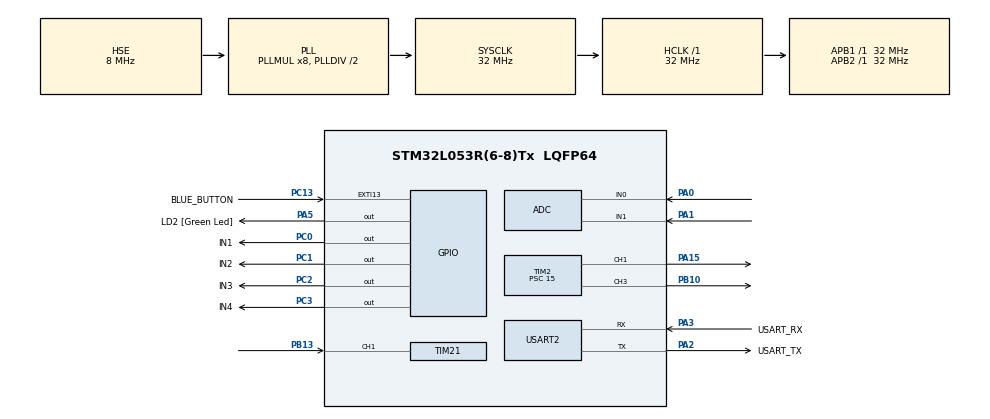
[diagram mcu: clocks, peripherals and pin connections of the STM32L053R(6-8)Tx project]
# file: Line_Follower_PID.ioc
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ADC.ContinuousConvMode=ENABLE
ADC.DMAContinuousRequests=ENABLE
ADC.SamplingTime=ADC_SAMPLETIME_160CYCLES_5
Dma.ADC.0.Direction=DMA_PERIPH_TO_MEMORY
Dma.ADC.0.Instance=DMA1_Channel1
Dma.ADC.0.MemDataAlignment=DMA_MDATAALIGN_HALFWORD
Dma.ADC.0.MemInc=DMA_MINC_ENABLE
Dma.ADC.0.Mode=DMA_CIRCULAR
Dma.ADC.0.PeriphDataAlignment=DMA_PDATAALIGN_HALFWORD
Dma.ADC.0.PeriphInc=DMA_PINC_DISABLE
Dma.ADC.0.Priority=DMA_PRIORITY_LOW
Dma.Request0=ADC
Mcu.Family=STM32L0
Mcu.Name=STM32L053R(6-8)Tx
Mcu.Package=LQFP64
NVIC.EXTI4_15_IRQn=true\:1\:0\:true\:false\:true\:true\:true\:true
NVIC.TIM21_IRQn=true\:2\:0\:true\:false\:true\:true\:true\:true
PA0.Mode=IN0
PA0.Signal=ADC_IN0
PA1.Mode=IN1
PA1.Signal=ADC_IN1
PA13.GPIO_Label=TMS
PA13.Mode=Serial_Wire
PA13.Signal=SYS_SWDIO
PA14.GPIO_Label=TCK
PA14.Mode=Serial_Wire
PA14.Signal=SYS_SWCLK
PA15.Signal=S_TIM2_CH1
PA2.GPIO_Label=USART_TX
PA2.Mode=Asynchronous
PA2.Signal=USART2_TX
PA3.GPIO_Label=USART_RX
PA3.Mode=Asynchronous
PA3.Signal=USART2_RX
PA5.GPIO_Label=LD2 [Green Led]
PA5.Signal=GPIO_Output
PB10.Signal=S_TIM2_CH3
PB13.Signal=S_TIM21_CH1
PC0.GPIO_Label=IN1
PC0.Signal=GPIO_Output
PC1.GPIO_Label=IN2
PC1.Signal=GPIO_Output
PC13.GPIO_Label=BLUE_BUTTON
PC13.GPIO_ModeDefaultEXTI=GPIO_MODE_IT_FALLING
PC13.Signal=GPXTI13
PC14-OSC32_IN.Mode=LSE-External-Oscillator
PC14-OSC32_IN.Signal=RCC_OSC32_IN
PC15-OSC32_OUT.Mode=LSE-External-Oscillator
PC15-OSC32_OUT.Signal=RCC_OSC32_OUT
PC2.GPIO_Label=IN3
PC2.Signal=GPIO_Output
PC3.GPIO_Label=IN4
PC3.Signal=GPIO_Output
PH0-OSC_IN.Mode=HSE-External-Clock-Source
PH0-OSC_IN.Signal=RCC_OSC_IN
PH1-OSC_OUT.Signal=RCC_OSC_OUT
ProjectManager.HeapSize=0x200
ProjectManager.StackSize=0x400
ProjectManager.TargetToolchain=STM32CubeIDE
RCC.AHBFreq_Value=32000000
RCC.APB1Freq_Value=32000000
RCC.APB1TimFreq_Value=32000000
RCC.APB2Freq_Value=32000000
RCC.APB2TimFreq_Value=32000000
RCC.HCLKFreq_Value=32000000
RCC.HSE_VALUE=8000000
RCC.HSI16_VALUE=16000000
RCC.HSI48_VALUE=48000000
RCC.HSI_VALUE=16000000
RCC.MSI_VALUE=2097000
RCC.PLLMUL=RCC_PLLMUL_8
RCC.PLLSourceVirtual=RCC_PLLSOURCE_HSE
RCC.SYSCLKFreq_VALUE=32000000
RCC.SYSCLKSource=RCC_SYSCLKSOURCE_PLLCLK
RCC.VCOOutputFreq_Value=64000000
SH.S_TIM21_CH1.0=TIM21_CH1,TriggerSource_TI1ED
SH.S_TIM21_CH1.1=TIM21_CH1,Input_Capture1_from_TI1
SH.S_TIM2_CH1.0=TIM2_CH1,PWM Generation1 CH1
SH.S_TIM2_CH3.0=TIM2_CH3,PWM Generation3 CH3
TIM2.Channel-PWM\ Generation1\ CH1=TIM_CHANNEL_1
TIM2.Channel-PWM\ Generation3\ CH3=TIM_CHANNEL_3
TIM2.Period=100
TIM2.Prescaler=15
TIM2.Pulse-PWM\ Generation1\ CH1=25
TIM2.Pulse-PWM\ Generation3\ CH3=25
TIM21.Channel-Input_Capture1_from_TI1=TIM_CHANNEL_1
TIM21.ICPolarity_CH1=TIM_INPUTCHANNELPOLARITY_FALLING
TIM21.Prescaler=31
USART2.VirtualMode-Asynchronous=VM_ASYNC
VP_TIM21_VS_ClockSourceINT.Mode=Internal
VP_TIM21_VS_ControllerModeReset.Mode=Reset Mode
board=NUCLEO-L053R8

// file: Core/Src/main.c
/* USER CODE BEGIN Header */
/**
  ******************************************************************************
  * @file           : main.c
  * @brief          : Main program body
  ******************************************************************************
  * @attention
  *
  * Copyright (c) 2022 STMicroelectronics.
  * All rights reserved.
  *
  * This software is licensed under terms that can be found in the LICENSE file
  * in the root directory of this software component.
  * If no LICENSE file comes with this software, it is provided AS-IS.
  *
  ******************************************************************************
  */
/* USER CODE END Header */
#include "main.h"
#include "adc.h"
#include "dma.h"
#include "tim.h"
#include "usart.h"
#include "gpio.h"

/* USER CODE BEGIN Includes */

#include <stdio.h>
#include "L298N.h"
#include <stdlib.h>
#include "ir.h"
#include <stdbool.h>

//#include "PID_function.h"

/* USER CODE END Includes */

/* USER CODE BEGIN PTD */

//parametry PID
#define PID_KP  2.0f
#define PID_KI  0.5f
#define PID_KD  0.25f

#define PID_TAU 0.02f

#define PID_LIM_MIN -100000.0f
#define PID_LIM_MAX  100000.0f

#define PID_LIM_MIN_CALKA -5.0f
#define PID_LIM_MAX_CALKA 5.0f
#define OKRES_PROBKOWANIA 0.01f

#define N_VAL   64

/* USER CODE END PTD */

void SystemClock_Config(void);

/* USER CODE BEGIN 0 */

typedef struct {

	//wzmocnienie bloków
	float Kp;
	float Ki;
	float Kd;

	//stała czasowa FDP
	float tau;

	//ograniczenia wyjść
	float limMin;
	float limMax;

	//ograniczenia całki
	float limMinCalka;
	float limMaxCalka;

	//czas próbkowania
	float T;

	//pamięć
	float calka;
	float poprzedniBlad;			/* Required for integrator */
	float pochodna;
	float poprzedniPomiar;		/* Required for differentiator */

	//wyjście
	float wyjscie;

} KontrolerPID;

// Variables for encoder
int counter = 0;

// Initial motor speeds
const uint8_t leftInitSpeed = 70;
const uint8_t rightInitSpeed = 70;

// Variables to keep track of intersection
int numIntersection = 0;
bool intersection = 0;
// Variables for PID Control
int previousError = 0;
int PIDvalue = 0;
int error = 0;
int P = 0;
int I = 0;
int D = 0;
// Gain constants
///*
int Kp = 20;  // proportional
int Ki = 15;  // integral
int Kd = 10;  // derivate
//*/

int16_t ADCdiff = 0;
volatile static int16_t ADCvalue[2];

#define IR_ZERO 14  // (A0)
#define IR_ONE 15  // (A1)
#define IR_TWO 16  // (A2)
#define IR_THREE 17  // (A3)
#define IR_FOUR 18  // (A4)

int adcX = 75;
int basic_speed = 0;
int l_speed;
int r_speed;

///////////////////////////////////////////////////// PID  /////////////////////////////////////////////////////////////
//return error
int returnError(int ADCdiff )
{ int err;

  //Only inner right sensor is on black
  	  	  	  	  	  // Tylko prawy sensor widzi czarne
  if(ADCdiff < (-1 * adcX) )
  { //err = -2;
  err = -1;
  basic_speed = 10;
    }

  //Only middle sensor is on black
  //oba sensory widzą czarne
  else if( (ADCdiff > adcX) && (ADCdiff < (-1 * adcX) ) )
  { err = 0;
  basic_speed = 40;
   }

  // Inner left sensor is on black
  	  	  	  	  	  // Tylko lewy sensor widzi czarne
  else if(ADCdiff > adcX)
  { //err = 2;
  err = 1;
  basic_speed = 10;
    }

  // INTERSECTION (All sensors are on black)
  	  	  	  	  	  // Oba sensory widzą czarne
  else if( (ADCdiff > adcX) && (ADCdiff < (-1 * adcX) ) )
  { intersection = true;
    err = 0;
    basic_speed = 40;
   }
  // Return error
  return err;}

//calculates and returns PID error
int calcPID(int error, int previousError)
{
  P = error;
  I = I + error;
  D = error-previousError;
  int pid = (Kp*P) + (Ki*I) + (Kd*D);
  printf("\t\t\tStary PID = %i \n", pid);
 // pid = pid % 11;
 // pid = pid % 7;
  pid = pid % 19;
  return pid;
};

// set motor speed based on PID error
void setLeftRightSpeed(int PIDval)
{ int rightSpeed = rightInitSpeed + PIDval;

//  int leftSpeed = leftInitSpeed - PIDval; // ----------------------------- ???????????????????
	int leftSpeed = leftInitSpeed + PIDval;

  rightSpeed = rightSpeed % 100;
  leftSpeed = leftSpeed % 100;

  //rightSpeed = 70;
  //leftSpeed = 70;

  rightSpeed = rightSpeed % 79;
  leftSpeed = leftSpeed % 79;

  if(rightSpeed < 65)
  {
	  rightSpeed = 65;
  }

  if(leftSpeed < 65)
    {
	  leftSpeed = 65;
    }

  printf("\t\t\tPID = %i \n", PIDval);

  if(ADCdiff > adcX)		// - skret w lewo -
  {
	  printf("ADCdiff = %i \n", ADCdiff);
	  printf("Right Speed = %i \n", rightSpeed);
	  printf("Left Speed = %i \n", leftSpeed);
	  	   // Swiecenie na Zielono
	  	  HAL_GPIO_WritePin(GPIOA, GPIO_PIN_9, GPIO_PIN_SET);
	  	  HAL_GPIO_WritePin(GPIOA, GPIO_PIN_8, GPIO_PIN_RESET);
	  // ////////////////////////////////////////////////////
	  left_motor_drive(50, "SOFT STOP");
	  right_motor_drive(rightSpeed, "FORWARD");
	  // ////////////////////////////////////////////////////
  }
  else if(ADCdiff < (-1 * adcX))	// - skret w prawo -
  {
	  printf("ADCdiff = %i \n", ADCdiff);
	  printf("Right Speed = %i \n", rightSpeed);
	  printf("Left Speed = %i \n", leftSpeed);
	  	   // Swiecenie na Czerwono
	  	  HAL_GPIO_WritePin(GPIOA, GPIO_PIN_9, GPIO_PIN_RESET);
	  	  HAL_GPIO_WritePin(GPIOA, GPIO_PIN_8, GPIO_PIN_SET);
	  // ////////////////////////////////////////////////////
	  left_motor_drive(leftSpeed, "FORWARD");
	  right_motor_drive(50, "SOFT STOP");
	  // ////////////////////////////////////////////////////
  }
  else		// - jazda prosto -
  {
	  printf("ADCdiff = %i \n", ADCdiff);
	  printf("Right Speed = %i \n", rightSpeed);
	  printf("Left Speed = %i \n", leftSpeed);
	  	   // Swiecenie na Zolto
	  	  HAL_GPIO_WritePin(GPIOA, GPIO_PIN_9, GPIO_PIN_RESET);
	  	  HAL_GPIO_WritePin(GPIOA, GPIO_PIN_8, GPIO_PIN_RESET);
//	  left_motor_drive(85,"FORWARD");
//	  right_motor_drive(85,"FORWARD");
	  left_motor_drive(70,"FORWARD");
	  right_motor_drive(70,"FORWARD");
  }

  if(rightSpeed <= 0)
  {
	  rightSpeed = 10;
  }

  if(leftSpeed <= 0)
  {
	  leftSpeed = 10;
  }

};
// /*
// increments intersection after intersection is detected
void countIntersection()
{ while (intersection)
  { forward();  // Should you delete this line of code?
    if (!(digitalRead(IR_ZERO) && digitalRead(IR_FOUR)))
    { numIntersection+=1;  // put in return error code?
      break;
    }
  }
}
// */
// follows straight line
void followLine()
{ //Read Sensor
  int * ADCdiff = ADCvalue[0] - ADCvalue[1];
  //Error for PID
  error = returnError(ADCdiff);
  // PID Calculation
  PIDvalue = calcPID(error, previousError);
  previousError = error;
  // Set motor speeds based on error
  setLeftRightSpeed(PIDvalue);

};//end followLine()

int __io_putchar(int ch)
{
  if (ch == '\n') {
    __io_putchar('\r');
  }

  HAL_UART_Transmit(&huart2, (uint8_t*)&ch, 1, HAL_MAX_DELAY);

  return 1;
}

typedef enum {
	ON,
	OFF
}state_t;

volatile state_t state = OFF;

void HAL_GPIO_EXTI_Callback(uint16_t GPIO_Pin)
{
  if (GPIO_Pin == BLUE_BUTTON_Pin) {
	  if(state == ON){
		  state = OFF;
	  }else{
		  state = ON;
	  }
  }
}

void HAL_TIM_IC_CaptureCallback(TIM_HandleTypeDef *htim)
{
  if (htim == &htim21)
  {
    switch (HAL_TIM_GetActiveChannel(&htim21))
    {
      case HAL_TIM_ACTIVE_CHANNEL_1:
        ir_tim_interrupt();
        break;
      default:
        break;
    }
  }
}

/* USER CODE END 0 */

int main(void)
{

  /* MCU Configuration--------------------------------------------------------*/

  /* Reset of all peripherals, Initializes the Flash interface and the Systick. */
  HAL_Init();

  /* Configure the system clock */
  SystemClock_Config();

  /* USER CODE BEGIN SysInit */

  	  	  	  //  Konfiguracja GPIO

    GPIO_InitTypeDef gpioA9;				// obiekt gpio będący konfiguracją portów GPIO
    gpioA9.Pin = GPIO_PIN_9; 				// konfigurujemy pin 9
    gpioA9.Mode = GPIO_MODE_OUTPUT_PP;	// jako wyjście
    gpioA9.Pull = GPIO_NOPULL;			// rezystory podciągające są wyłączone
    gpioA9.Speed = GPIO_SPEED_FREQ_LOW;	// wystarczą nieskie częstotliwości przełączania
    HAL_GPIO_Init(GPIOA, &gpioA9);		// inicjalizacja modułu GPIOA

  	GPIO_InitTypeDef gpioA8;				// obiekt gpio będący konfiguracją portów GPIO
  	gpioA8.Pin = GPIO_PIN_8; 				// konfigurujemy pin 8
  	gpioA8.Mode = GPIO_MODE_OUTPUT_PP;	// jako wyjście
  	gpioA8.Pull = GPIO_NOPULL;			// rezystory podciągające są wyłączone
  	gpioA8.Speed = GPIO_SPEED_FREQ_LOW;	// wystarczą nieskie częstotliwości przełączania
  	HAL_GPIO_Init(GPIOA, &gpioA8);		// inicjalizacja modułu GPIOA

  	GPIO_InitTypeDef gpioA10;				// obiekt gpio będący konfiguracją portów GPIO
  	gpioA10.Pin = GPIO_PIN_10; 				// konfigurujemy pin 10
  	gpioA10.Mode = GPIO_MODE_OUTPUT_PP;	// jako wyjście
  	gpioA10.Pull = GPIO_NOPULL;			// rezystory podciągające są wyłączone
  	gpioA10.Speed = GPIO_SPEED_FREQ_LOW;	// wystarczą nieskie częstotliwości przełączania
   	HAL_GPIO_Init(GPIOA, &gpioA10);		// inicjalizacja modułu GPIOA

  /* USER CODE END SysInit */

  /* Initialize all configured peripherals */
  MX_GPIO_Init();
  MX_DMA_Init();
  MX_USART2_UART_Init();
  MX_ADC_Init();
  MX_TIM2_Init();
  MX_TIM21_Init();

  /* Infinite loop */
  /* USER CODE BEGIN WHILE */

  HAL_TIM_Base_Start_IT(&htim2);
  HAL_TIM_PWM_Start(&htim2, TIM_CHANNEL_1);
  HAL_TIM_PWM_Start(&htim2, TIM_CHANNEL_3);

  HAL_ADCEx_Calibration_Start(&hadc, ADC_SINGLE_ENDED);
  HAL_ADC_Start_DMA(&hadc, (uint32_t*)ADCvalue, 2);

  HAL_TIM_Base_Start(&htim21);
  HAL_TIM_IC_Start_IT(&htim21, TIM_CHANNEL_1);

  while (1)
  {

	  int ir_ReadValue = ir_read();
	  if (ir_ReadValue != -1) {
	    printf("code = %02x\n", ir_ReadValue);
	  }
	  if (ir_ReadValue == IR_CODE_ONOFF) 	// Zmiana trybu jazdy - Line Follower /  Jazda na Pilota
	  {
		  if(state == ON)
		  {
			  state = OFF;
	  		  left_motor_drive(100,"FAST STOP");
	  		  right_motor_drive(100,"FAST STOP");
		  }
		  else
		  {
			  state = ON;
		  }
	  }
	  else if(ir_ReadValue == IR_CODE_REWIND) // - Jazda w lewo -
	  {
			left_motor_drive(75,"BACKWARD");
			right_motor_drive(75,"FORWARD");
				 // Swiecenie na Zielono
				HAL_GPIO_WritePin(GPIOA, GPIO_PIN_9, GPIO_PIN_SET);
				HAL_GPIO_WritePin(GPIOA, GPIO_PIN_8, GPIO_PIN_RESET);
	  }
	  else if(ir_ReadValue == IR_CODE_FORWARD) // - Jazda w prawo-
	  {
			left_motor_drive(75,"FORWARD");
			right_motor_drive(75,"BACKWARD");
				 // Swiecenie na Czerwono
				HAL_GPIO_WritePin(GPIOA, GPIO_PIN_9, GPIO_PIN_RESET);
				HAL_GPIO_WritePin(GPIOA, GPIO_PIN_8, GPIO_PIN_SET);
	  }
	  else if(ir_ReadValue == IR_CODE_PLUS) // - Jazda porsto-
	  {
			left_motor_drive(75,"FORWARD");
			right_motor_drive(75,"FORWARD");
				 // Swiecenie na Zolto
				HAL_GPIO_WritePin(GPIOA, GPIO_PIN_9, GPIO_PIN_RESET);
				HAL_GPIO_WritePin(GPIOA, GPIO_PIN_8, GPIO_PIN_RESET);
	  }
	  else if(ir_ReadValue == IR_CODE_MINUS)  // - Jazda w tyl-
	  {
			left_motor_drive(75,"BACKWARD");
			right_motor_drive(75,"BACKWARD");
				 // Brak Swiecenia (swieci tylko na niebiesko)
				HAL_GPIO_WritePin(GPIOA, GPIO_PIN_9, GPIO_PIN_SET);
				HAL_GPIO_WritePin(GPIOA, GPIO_PIN_8, GPIO_PIN_SET);
	  }
	  else if(ir_ReadValue == IR_CODE_PLAY)  // - Zatrzymanie (srodkowy przycisk) -
	  {
		  	left_motor_drive(100,"FAST STOP");
  		  	right_motor_drive(100,"FAST STOP");
  		  		 // Brak Swiecenia (swieci tylko na niebiesko)
  		  		HAL_GPIO_WritePin(GPIOA, GPIO_PIN_9, GPIO_PIN_SET);
  		  		HAL_GPIO_WritePin(GPIOA, GPIO_PIN_8, GPIO_PIN_SET);
	  }

		  	  ADCdiff = ADCvalue[0] - ADCvalue[1];					// ||||||||||||||||||||||||||||||||||||||||||||

		  	if(state == OFF)
		  	{
		  		 // Swiecenie na niebiesko (gdy tryb jazdy na pilota)
		  		HAL_GPIO_WritePin(GPIOA, GPIO_PIN_10, GPIO_PIN_RESET);
		  	}

	  	  	 // /*
		  	if(state == ON)				// Line Follower z PID
		  	{
		  		followLine();
		  		 // brak swiecenia na niebiesko (gdy tryb Line Followera)
		  		HAL_GPIO_WritePin(GPIOA, GPIO_PIN_10, GPIO_PIN_SET);
		  	}
		  	//*/

		  	  /*
										//  Line Follower bez PID
		  	  if(state == ON){
				  if(ADCdiff > 75)
				  {
					printf("ADCdiff = %i (lewa strona)\n", ADCdiff); // PID -
	//		  			left_motor_drive(100 + pid.wyjscie,"BACKWARD");
	//		  			right_motor_drive(60 - pid.wyjscie,"FORWARD");
	//		  			left_motor_drive(70,"BACKWARD");
						left_motor_drive(0,"FAST STOP");
						right_motor_drive(75,"FORWARD");

				  }else if(ADCdiff < -75){
					printf("ADCdiff = %i (prawa strona)\n", ADCdiff); // PID +
	//		  			left_motor_drive(60 + pid.wyjscie,"FORWARD");
	//		  			right_motor_drive(100 - pid.wyjscie,"BACKWARD");
						left_motor_drive(75,"FORWARD");
						right_motor_drive(0,"FAST STOP");
	//		  			right_motor_drive(70,"BACKWARD");
				  }else{
						printf("ADCdiff = %i (srodek)\n", ADCdiff);
						left_motor_drive(78,"FORWARD");
						right_motor_drive(78,"FORWARD");
				  }
		  	  }

		  	  */

    /* USER CODE END WHILE */

  }
}

void SystemClock_Config(void)
{
  RCC_OscInitTypeDef RCC_OscInitStruct = {0};
  RCC_ClkInitTypeDef RCC_ClkInitStruct = {0};
  RCC_PeriphCLKInitTypeDef PeriphClkInit = {0};

  /** Configure the main internal regulator output voltage
  */
  __HAL_PWR_VOLTAGESCALING_CONFIG(PWR_REGULATOR_VOLTAGE_SCALE1);

  /** Initializes the RCC Oscillators according to the specified parameters
  * in the RCC_OscInitTypeDef structure.
  */
  RCC_OscInitStruct.OscillatorType = RCC_OSCILLATORTYPE_HSE;
  RCC_OscInitStruct.HSEState = RCC_HSE_BYPASS;
  RCC_OscInitStruct.PLL.PLLState = RCC_PLL_ON;
  RCC_OscInitStruct.PLL.PLLSource = RCC_PLLSOURCE_HSE;
  RCC_OscInitStruct.PLL.PLLMUL = RCC_PLLMUL_8;
  RCC_OscInitStruct.PLL.PLLDIV = RCC_PLLDIV_2;
  if (HAL_RCC_OscConfig(&RCC_OscInitStruct) != HAL_OK)
  {
    Error_Handler();
  }

  /** Initializes the CPU, AHB and APB buses clocks
  */
  RCC_ClkInitStruct.ClockType = RCC_CLOCKTYPE_HCLK|RCC_CLOCKTYPE_SYSCLK
                              |RCC_CLOCKTYPE_PCLK1|RCC_CLOCKTYPE_PCLK2;
  RCC_ClkInitStruct.SYSCLKSource = RCC_SYSCLKSOURCE_PLLCLK;
  RCC_ClkInitStruct.AHBCLKDivider = RCC_SYSCLK_DIV1;
  RCC_ClkInitStruct.APB1CLKDivider = RCC_HCLK_DIV1;
  RCC_ClkInitStruct.APB2CLKDivider = RCC_HCLK_DIV1;

  if (HAL_RCC_ClockConfig(&RCC_ClkInitStruct, FLASH_LATENCY_1) != HAL_OK)
  {
    Error_Handler();
  }
  PeriphClkInit.PeriphClockSelection = RCC_PERIPHCLK_USART2;
  PeriphClkInit.Usart2ClockSelection = RCC_USART2CLKSOURCE_PCLK1;
  if (HAL_RCCEx_PeriphCLKConfig(&PeriphClkInit) != HAL_OK)
  {
    Error_Handler();
  }
  HAL_RCC_MCOConfig(RCC_MCO1, RCC_MCO1SOURCE_SYSCLK, RCC_MCODIV_1);
}

void Error_Handler(void)
{
  __disable_irq();
  while (1)
  {
  }
}
